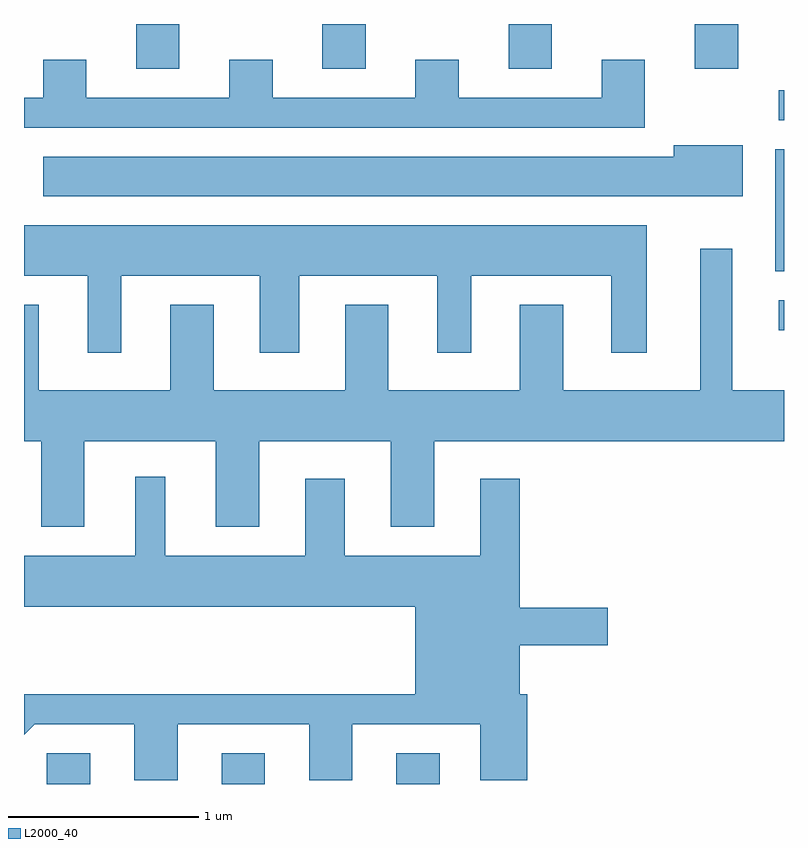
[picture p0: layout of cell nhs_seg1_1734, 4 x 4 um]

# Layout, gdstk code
import gdstk
lib = gdstk.Library(unit=1e-6, precision=1e-09)
def R(c, l, rs):  # rectangles x0, y0, x1, y1
    for r in rs: c.add(gdstk.rectangle(r[:2], r[2:], *l))
def A(c, l, x, y, w, h, nx, ny, dx, dy):  # array of equal rectangles
    R(c, l, [(x+i*dx, y+j*dy, x+i*dx+w, y+j*dy+h) for i in range(nx) for j in range(ny)])
def P(c, l, *ps):  # polygons
    for p in ps: c.add(gdstk.Polygon(p, *l))
L2000_40 = (2000, 40)

nhs_seg1_1734 = lib.new_cell('nhs_seg1_1734')
A(nhs_seg1_1734, L2000_40, 237.731, 957.712, 0.228, 0.162, 3, 1, 0.92, 0)
A(nhs_seg1_1734, L2000_40, 238.201, 961.476, 0.228, 0.236, 4, 1, 0.98, 0)
R(nhs_seg1_1734, L2000_40, [(241.583,960.101,241.611,960.259), (241.566,960.411,241.611,961.054), (241.583,961.206,241.611,961.364)])
P(nhs_seg1_1734, L2000_40, [(240.879,961.524),(240.651,961.524),(240.651,961.324),(239.899,961.324),(239.899,961.524),(239.671,961.524),(239.671,961.324),(238.919,961.324),(238.919,961.524),(238.691,961.524),(238.691,961.324),(237.939,961.324),(237.939,961.524),(237.711,961.524),(237.711,961.324),(237.611,961.324),(237.611,961.166),(240.879,961.166)],
  [(241.394,961.074),(241.031,961.074),(241.031,961.014),(237.711,961.014),(237.711,960.806),(241.394,960.806)],
  [(238.124,960.386),(238.851,960.386),(238.851,959.981),(239.059,959.981),(239.059,960.386),(239.786,960.386),(239.786,959.981),(239.964,959.981),(239.964,960.386),(240.701,960.386),(240.701,959.981),(240.889,959.981),(240.889,960.654),(237.611,960.654),(237.611,960.386),(237.946,960.386),(237.946,959.981),(238.124,959.981)],
  [(238.609,960.234),(238.381,960.234),(238.381,959.784),(237.689,959.784),(237.689,960.234),(237.611,960.234),(237.611,959.516),(237.701,959.516),(237.701,959.066),(237.929,959.066),(237.929,959.516),(238.621,959.516),(238.621,959.066),(238.849,959.066),(238.849,959.516),(239.541,959.516),(239.541,959.066),(239.769,959.066),(239.769,959.516),(241.611,959.516),(241.611,959.784),(241.339,959.784),(241.339,960.528),(241.171,960.528),(241.171,959.784),(240.449,959.784),(240.449,960.234),(240.221,960.234),(240.221,959.784),(239.529,959.784),(239.529,960.234),(239.301,960.234),(239.301,959.784),(238.609,959.784)],
  [(238.419,958.026),(239.111,958.026),(239.111,957.731),(239.339,957.731),(239.339,958.026),(240.011,958.026),(240.011,957.731),(240.259,957.731),(240.259,958.184),(240.219,958.184),(240.219,958.441),(240.684,958.441),(240.684,958.639),(240.219,958.639),(240.219,959.319),(240.011,959.319),(240.011,958.914),(239.299,958.914),(239.299,959.319),(239.091,959.319),(239.091,958.914),(238.354,958.914),(238.354,959.328),(238.196,959.328),(238.196,958.914),(237.611,958.914),(237.611,958.646),(239.671,958.646),(239.671,958.184),(237.611,958.184),(237.611,957.97),(237.667,958.026),(238.191,958.026),(238.191,957.731),(238.419,957.731)])

lib.write_gds('nhs_seg1_1734.gds')
